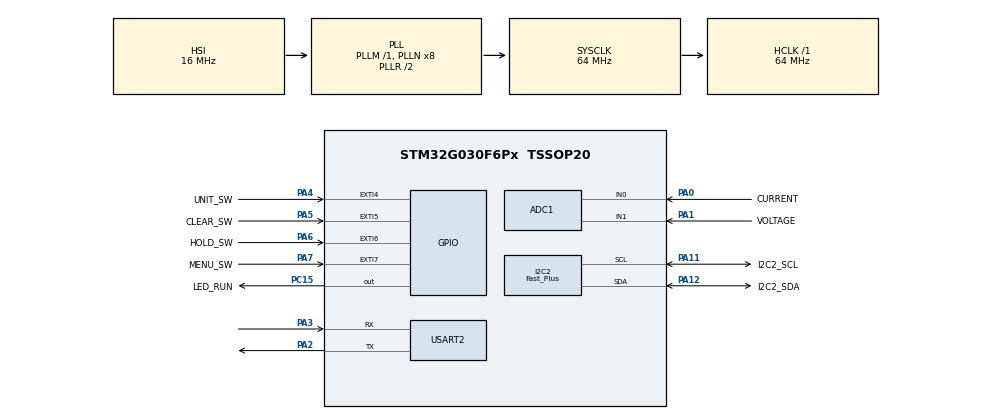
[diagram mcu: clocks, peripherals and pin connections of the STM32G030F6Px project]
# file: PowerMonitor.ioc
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ADC1.ClockPrescaler=ADC_CLOCK_SYNC_PCLK_DIV2
ADC1.ContinuousConvMode=DISABLE
ADC1.DMAContinuousRequests=ENABLE
ADC1.ExternalTrigConv=ADC_EXTERNALTRIG_T3_TRGO
ADC1.LowPowerAutoPowerOff=DISABLE
ADC1.NbrOfConversion=1
ADC1.NbrOfConversionFlag=0
ADC1.OversamplingMode=ENABLE
ADC1.Ratio=ADC_OVERSAMPLING_RATIO_16
ADC1.RightBitShift=ADC_RIGHTBITSHIFT_4
ADC1.ScanConvMode=ADC_SCAN_SEQ_FIXED
ADC1.SelectedChannel=ADC_CHANNEL_0|ADC_CHANNEL_1
ADC1.Sequencer=NOT_FULLY_CONFIGURABLE
ADC1.master=1
Dma.ADC1.0.Direction=DMA_PERIPH_TO_MEMORY
Dma.ADC1.0.EventEnable=DISABLE
Dma.ADC1.0.Instance=DMA1_Channel1
Dma.ADC1.0.MemDataAlignment=DMA_MDATAALIGN_HALFWORD
Dma.ADC1.0.MemInc=DMA_MINC_ENABLE
Dma.ADC1.0.Mode=DMA_CIRCULAR
Dma.ADC1.0.PeriphDataAlignment=DMA_PDATAALIGN_HALFWORD
Dma.ADC1.0.PeriphInc=DMA_PINC_DISABLE
Dma.ADC1.0.Polarity=HAL_DMAMUX_REQ_GEN_RISING
Dma.ADC1.0.Priority=DMA_PRIORITY_LOW
Dma.ADC1.0.RequestNumber=1
Dma.ADC1.0.SignalID=NONE
Dma.ADC1.0.SyncEnable=DISABLE
Dma.ADC1.0.SyncPolarity=HAL_DMAMUX_SYNC_NO_EVENT
Dma.ADC1.0.SyncRequestNumber=1
Dma.ADC1.0.SyncSignalID=NONE
Dma.I2C2_RX.2.Direction=DMA_PERIPH_TO_MEMORY
Dma.I2C2_RX.2.EventEnable=DISABLE
Dma.I2C2_RX.2.Instance=DMA1_Channel3
Dma.I2C2_RX.2.MemDataAlignment=DMA_MDATAALIGN_BYTE
Dma.I2C2_RX.2.MemInc=DMA_MINC_ENABLE
Dma.I2C2_RX.2.Mode=DMA_NORMAL
Dma.I2C2_RX.2.PeriphDataAlignment=DMA_PDATAALIGN_BYTE
Dma.I2C2_RX.2.PeriphInc=DMA_PINC_DISABLE
Dma.I2C2_RX.2.Polarity=HAL_DMAMUX_REQ_GEN_RISING
Dma.I2C2_RX.2.Priority=DMA_PRIORITY_HIGH
Dma.I2C2_RX.2.RequestNumber=1
Dma.I2C2_RX.2.SignalID=NONE
Dma.I2C2_RX.2.SyncEnable=DISABLE
Dma.I2C2_RX.2.SyncPolarity=HAL_DMAMUX_SYNC_NO_EVENT
Dma.I2C2_RX.2.SyncRequestNumber=1
Dma.I2C2_RX.2.SyncSignalID=NONE
Dma.I2C2_TX.1.Direction=DMA_MEMORY_TO_PERIPH
Dma.I2C2_TX.1.EventEnable=DISABLE
Dma.I2C2_TX.1.Instance=DMA1_Channel2
Dma.I2C2_TX.1.MemDataAlignment=DMA_MDATAALIGN_BYTE
Dma.I2C2_TX.1.MemInc=DMA_MINC_ENABLE
Dma.I2C2_TX.1.Mode=DMA_NORMAL
Dma.I2C2_TX.1.PeriphDataAlignment=DMA_PDATAALIGN_BYTE
Dma.I2C2_TX.1.PeriphInc=DMA_PINC_DISABLE
Dma.I2C2_TX.1.Polarity=HAL_DMAMUX_REQ_GEN_RISING
Dma.I2C2_TX.1.Priority=DMA_PRIORITY_HIGH
Dma.I2C2_TX.1.RequestNumber=1
Dma.I2C2_TX.1.SignalID=NONE
Dma.I2C2_TX.1.SyncEnable=DISABLE
Dma.I2C2_TX.1.SyncPolarity=HAL_DMAMUX_SYNC_NO_EVENT
Dma.I2C2_TX.1.SyncRequestNumber=1
Dma.I2C2_TX.1.SyncSignalID=NONE
Dma.Request0=ADC1
Dma.Request1=I2C2_TX
Dma.Request2=I2C2_RX
I2C2.CustomTiming=Disabled
I2C2.I2C_Speed_Mode=I2C_Fast_Plus
I2C2.Timing=0x00300B29
Mcu.Family=STM32G0
Mcu.Name=STM32G030F6Px
Mcu.Package=TSSOP20
NVIC.DMA1_Channel1_IRQn=true\:0\:0\:false\:false\:true\:false\:true\:true
NVIC.DMA1_Channel2_3_IRQn=true\:0\:0\:false\:false\:true\:false\:true\:true
NVIC.EXTI4_15_IRQn=true\:0\:0\:false\:false\:true\:true\:true\:true
NVIC.I2C2_IRQn=true\:0\:0\:false\:false\:true\:true\:true\:true
NVIC.TIM3_IRQn=true\:0\:0\:false\:false\:true\:true\:true\:true
NVIC.USART2_IRQn=true\:0\:0\:false\:false\:true\:true\:true\:true
PA0.GPIO_Label=CURRENT
PA0.Mode=IN0
PA0.Signal=ADC1_IN0
PA1.GPIO_Label=VOLTAGE
PA1.Mode=IN1
PA1.Signal=ADC1_IN1
PA11\ [PA9].GPIO_Label=I2C2_SCL
PA11\ [PA9].GPIO_Speed=GPIO_SPEED_FREQ_VERY_HIGH
PA11\ [PA9].Mode=I2C
PA11\ [PA9].Signal=I2C2_SCL
PA12\ [PA10].GPIO_Label=I2C2_SDA
PA12\ [PA10].GPIO_Speed=GPIO_SPEED_FREQ_VERY_HIGH
PA12\ [PA10].Mode=I2C
PA12\ [PA10].Signal=I2C2_SDA
PA13.Mode=Serial_Wire
PA13.Signal=SYS_SWDIO
PA14-BOOT0.Mode=Serial_Wire
PA14-BOOT0.Signal=SYS_SWCLK
PA14-BOOT0__PA15.StandardMode=true
PA2.Mode=Asynchronous
PA2.Signal=USART2_TX
PA3.Mode=Asynchronous
PA3.Signal=USART2_RX
PA4.GPIO_Label=UNIT_SW
PA4.GPIO_ModeDefaultEXTI=GPIO_MODE_IT_FALLING
PA4.Signal=GPXTI4
PA5.GPIO_Label=CLEAR_SW
PA5.GPIO_ModeDefaultEXTI=GPIO_MODE_IT_FALLING
PA5.Signal=GPXTI5
PA6.GPIO_Label=HOLD_SW
PA6.GPIO_ModeDefaultEXTI=GPIO_MODE_IT_FALLING
PA6.Signal=GPXTI6
PA7.GPIO_Label=MENU_SW
PA7.GPIO_ModeDefaultEXTI=GPIO_MODE_IT_FALLING
PA7.Signal=GPXTI7
PB0__PB1__PB2__PA8.StandardMode=true
PB3__PB4__PB5__PB6.StandardMode=true
PB7__PB8.StandardMode=true
PC14-OSC32_IN\ (PC14)__PB9.StandardMode=true
PC15-OSC32_OUT\ (PC15).GPIO_Label=LED_RUN
PC15-OSC32_OUT\ (PC15).Signal=GPIO_Output
ProjectManager.HeapSize=0x200
ProjectManager.StackSize=0x400
ProjectManager.TargetToolchain=MDK-ARM V5.32
RCC.ADCCLockSelection=RCC_ADCCLKSOURCE_PLLADC
RCC.ADCFreq_Value=16000000
RCC.AHBFreq_Value=64000000
RCC.CortexFreq_Value=64000000
RCC.EXTERNAL_CLOCK_VALUE=12288000
RCC.HCLKFreq_Value=64000000
RCC.HSE_VALUE=8000000
RCC.HSI_VALUE=16000000
RCC.LSE_VALUE=32768
RCC.PLLP=RCC_PLLP_DIV8
RCC.SYSCLKFreq_VALUE=64000000
RCC.SYSCLKSource=RCC_SYSCLKSOURCE_PLLCLK
RCC.VCOOutputFreq_Value=128000000
TIM3.AutoReloadPreload=TIM_AUTORELOAD_PRELOAD_ENABLE
TIM3.Period=1000-1
TIM3.Prescaler=64-1
TIM3.TIM_MasterOutputTrigger=TIM_TRGO_UPDATE
USART2.VirtualMode-Asynchronous=VM_ASYNC
VP_TIM3_VS_ClockSourceINT.Mode=Internal
board=custom

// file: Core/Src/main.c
/* USER CODE BEGIN Header */
/**
 ******************************************************************************
 * @file           : main.c
 * @brief          : Main program body
 ******************************************************************************
 * @attention
 *
 * Copyright (c) 2026 STMicroelectronics.
 * All rights reserved.
 *
 * This software is licensed under terms that can be found in the LICENSE file
 * in the root directory of this software component.
 * If no LICENSE file comes with this software, it is provided AS-IS.
 *
 ******************************************************************************
 */
/* USER CODE END Header */
#include "main.h"
#include "adc.h"
#include "dma.h"
#include "i2c.h"
#include "tim.h"
#include "usart.h"
#include "gpio.h"

/* USER CODE BEGIN Includes */
#include "stdio.h"
#include "PowerMonitor.h"
#include "OLED.h"
/* USER CODE END Includes */

/* USER CODE BEGIN PV */
uint8_t usart_msg[30];
uint16_t adc_buff[2];
uint8_t display_flag = 0;
/* USER CODE END PV */

void SystemClock_Config(void);

int main(void)
{

  /* MCU Configuration--------------------------------------------------------*/

  /* Reset of all peripherals, Initializes the Flash interface and the Systick. */
  HAL_Init();

  /* Configure the system clock */
  SystemClock_Config();

  /* Initialize all configured peripherals */
  MX_GPIO_Init();
  MX_DMA_Init();
  MX_ADC1_Init();
  MX_I2C2_Init();
  MX_TIM3_Init();
  MX_USART2_UART_Init();
  /* USER CODE BEGIN 2 */
  OLED_Init();

  HAL_TIM_Base_Start_IT(&htim3);

  HAL_ADCEx_Calibration_Start(&hadc1); // ADC calibration (necessary)
  HAL_ADC_Start_DMA(&hadc1, (uint32_t *)adc_buff, 2);

  display_flag = 1; // trigger initial display update

  HAL_UART_Receive_IT(&huart2, usart_msg, 1); // WIP: USART command handling can be implemented in the future. For now, just echo back the received byte.

  /* USER CODE END 2 */

  /* Infinite loop */
  while (1)
  {

    /* USER CODE BEGIN 3 */

    if (display_flag && OLED_IsTxIdle()) // put display update in the main loop to avoid potential I2C transmission conflict with TIM interrupt
    {
      display_flag = 0;
      PM_Display_Update();
    }
  }
  /* USER CODE END 3 */
}

void SystemClock_Config(void)
{
  RCC_OscInitTypeDef RCC_OscInitStruct = {0};
  RCC_ClkInitTypeDef RCC_ClkInitStruct = {0};

  /** Configure the main internal regulator output voltage
  */
  HAL_PWREx_ControlVoltageScaling(PWR_REGULATOR_VOLTAGE_SCALE1);

  /** Initializes the RCC Oscillators according to the specified parameters
  * in the RCC_OscInitTypeDef structure.
  */
  RCC_OscInitStruct.OscillatorType = RCC_OSCILLATORTYPE_HSI;
  RCC_OscInitStruct.HSIState = RCC_HSI_ON;
  RCC_OscInitStruct.HSIDiv = RCC_HSI_DIV1;
  RCC_OscInitStruct.HSICalibrationValue = RCC_HSICALIBRATION_DEFAULT;
  RCC_OscInitStruct.PLL.PLLState = RCC_PLL_ON;
  RCC_OscInitStruct.PLL.PLLSource = RCC_PLLSOURCE_HSI;
  RCC_OscInitStruct.PLL.PLLM = RCC_PLLM_DIV1;
  RCC_OscInitStruct.PLL.PLLN = 8;
  RCC_OscInitStruct.PLL.PLLP = RCC_PLLP_DIV8;
  RCC_OscInitStruct.PLL.PLLR = RCC_PLLR_DIV2;
  if (HAL_RCC_OscConfig(&RCC_OscInitStruct) != HAL_OK)
  {
    Error_Handler();
  }

  /** Initializes the CPU, AHB and APB buses clocks
  */
  RCC_ClkInitStruct.ClockType = RCC_CLOCKTYPE_HCLK|RCC_CLOCKTYPE_SYSCLK
                              |RCC_CLOCKTYPE_PCLK1;
  RCC_ClkInitStruct.SYSCLKSource = RCC_SYSCLKSOURCE_PLLCLK;
  RCC_ClkInitStruct.AHBCLKDivider = RCC_SYSCLK_DIV1;
  RCC_ClkInitStruct.APB1CLKDivider = RCC_HCLK_DIV1;

  if (HAL_RCC_ClockConfig(&RCC_ClkInitStruct, FLASH_LATENCY_2) != HAL_OK)
  {
    Error_Handler();
  }
}

/* USER CODE BEGIN 4 */
void HAL_I2C_MasterTxCpltCallback(I2C_HandleTypeDef *hi2c)
{
  if (hi2c->Instance == I2C2)
  {
    OLED_I2C_OnTxCplt();
  }
}

void HAL_I2C_ErrorCallback(I2C_HandleTypeDef *hi2c)
{
  if (hi2c->Instance == I2C2)
  {
    OLED_I2C_OnError();
  }
}

void HAL_GPIO_EXTI_Falling_Callback(uint16_t GPIO_Pin)
{
  PM_Key_get(GPIO_Pin);
}

void HAL_UART_RxCpltCallback(UART_HandleTypeDef *huart)
{
  if (huart->Instance == USART2)
  {
    // WIP: USART command handling can be implemented here. For now, just echo back the received byte.

    HAL_UART_Transmit_IT(&huart2, usart_msg, 1);

    HAL_UART_Receive_IT(&huart2, usart_msg, 1);
  }
}

void HAL_TIM_PeriodElapsedCallback(TIM_HandleTypeDef *htim)
{
  if (htim->Instance == TIM3)
  {
    PM_LED_RUN(1000);

    PM_Key_Task();

    PM_ADC_Data_Update(adc_buff[0], adc_buff[1]); // transmit current adc_buff[0] and voltage adc_buff[1]

    if (PM_Display_Refresh())
    {
      display_flag = 1;
    }

  }
}

/* USER CODE END 4 */

void Error_Handler(void)
{
  __disable_irq();
  while (1)
  {
  }
}
